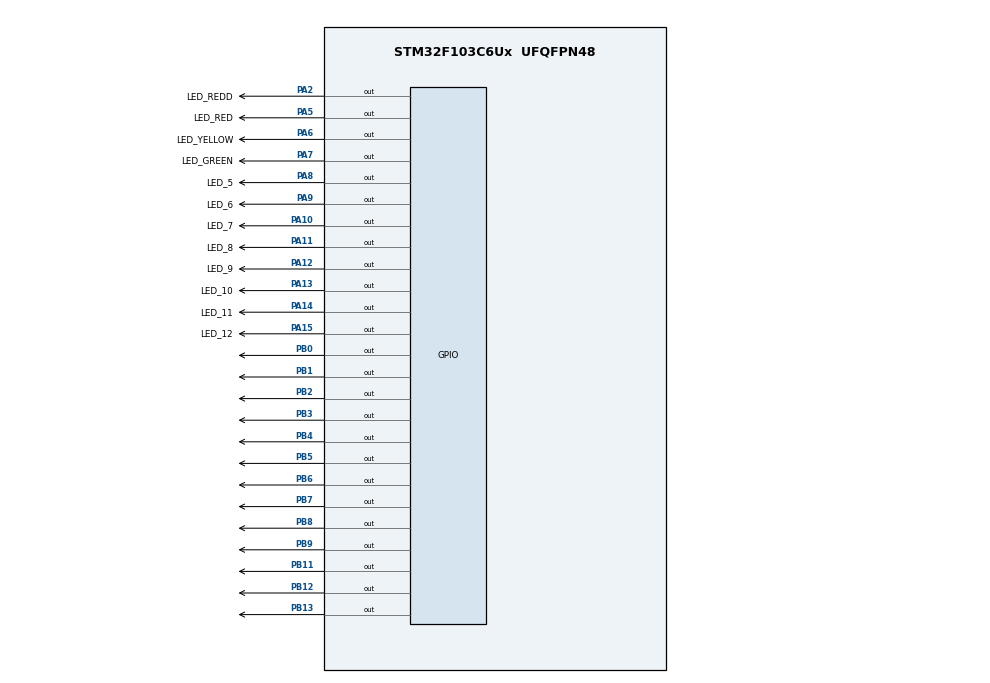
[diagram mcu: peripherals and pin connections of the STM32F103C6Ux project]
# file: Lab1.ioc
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Mcu.Family=STM32F1
Mcu.Name=STM32F103C6Ux
Mcu.Package=UFQFPN48
NVIC.PriorityGroup=NVIC_PRIORITYGROUP_4
PA10.GPIO_Label=LED_7
PA10.Signal=GPIO_Output
PA11.GPIO_Label=LED_8
PA11.Signal=GPIO_Output
PA12.GPIO_Label=LED_9
PA12.Signal=GPIO_Output
PA13.GPIO_Label=LED_10
PA13.Signal=GPIO_Output
PA14.GPIO_Label=LED_11
PA14.Signal=GPIO_Output
PA15.GPIO_Label=LED_12
PA15.Signal=GPIO_Output
PA2.GPIO_Label=LED_REDD
PA2.Signal=GPIO_Output
PA5.GPIO_Label=LED_RED
PA5.Signal=GPIO_Output
PA6.GPIO_Label=LED_YELLOW
PA6.Signal=GPIO_Output
PA7.GPIO_Label=LED_GREEN
PA7.Signal=GPIO_Output
PA8.GPIO_Label=LED_5
PA8.Signal=GPIO_Output
PA9.GPIO_Label=LED_6
PA9.Signal=GPIO_Output
PB0.Signal=GPIO_Output
PB1.Signal=GPIO_Output
PB11.Signal=GPIO_Output
PB12.Signal=GPIO_Output
PB13.Signal=GPIO_Output
PB2.Signal=GPIO_Output
PB3.Signal=GPIO_Output
PB4.Signal=GPIO_Output
PB5.Signal=GPIO_Output
PB6.Signal=GPIO_Output
PB7.Signal=GPIO_Output
PB8.Signal=GPIO_Output
PB9.Signal=GPIO_Output
ProjectManager.HeapSize=0x200
ProjectManager.StackSize=0x400
ProjectManager.TargetToolchain=STM32CubeIDE
RCC.APB1Freq_Value=8000000
RCC.APB2Freq_Value=8000000
VP_SYS_VS_ND.Mode=No_Debug
board=custom

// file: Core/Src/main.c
/* USER CODE BEGIN Header */
/**
  ******************************************************************************
  * @file           : main.c
  * @brief          : Main program body
  ******************************************************************************
  * @attention
  *
  * <h2><center>&copy; Copyright (c) 2022 STMicroelectronics.
  * All rights reserved.</center></h2>
  *
  * This software component is licensed by ST under BSD 3-Clause license,
  * the "License"; You may not use this file except in compliance with the
  * License. You may obtain a copy of the License at:
  *                        opensource.org/licenses/BSD-3-Clause
  *
  ******************************************************************************
  */
/* USER CODE END Header */
#include "main.h"

void SystemClock_Config(void);
static void MX_GPIO_Init(void);

/* USER CODE BEGIN 0 */
void display7SEG(int *count_time){
	switch(*count_time){
	 	  case 0:{
	 		  HAL_GPIO_WritePin(GPIOB,GPIO_PIN_6,1);
	 		  HAL_GPIO_WritePin(GPIOB,GPIO_PIN_0,0);
	 		  HAL_GPIO_WritePin(GPIOB,GPIO_PIN_1,0);
	 		  HAL_GPIO_WritePin(GPIOB,GPIO_PIN_2,0);
	 		  HAL_GPIO_WritePin(GPIOB,GPIO_PIN_3,0);
	 		  HAL_GPIO_WritePin(GPIOB,GPIO_PIN_4,0);
	 		  HAL_GPIO_WritePin(GPIOB,GPIO_PIN_5,0);
	 		  HAL_GPIO_WritePin( LED_YELLOW_GPIO_Port , LED_YELLOW_Pin,1);
	 		  HAL_GPIO_WritePin( LED_GREEN_GPIO_Port , LED_GREEN_Pin,1);
	 		  HAL_GPIO_WritePin( LED_RED_GPIO_Port , LED_RED_Pin,0);

	 		  break ;
	 	  	  };
	 	  case 1:{
	 		  HAL_GPIO_WritePin(GPIOB,GPIO_PIN_6,1);
	 		  HAL_GPIO_WritePin(GPIOB,GPIO_PIN_0,1);
	 		  HAL_GPIO_WritePin(GPIOB,GPIO_PIN_1,0);
	 		  HAL_GPIO_WritePin(GPIOB,GPIO_PIN_2,0);
	 		  HAL_GPIO_WritePin(GPIOB,GPIO_PIN_3,1);
	 		  HAL_GPIO_WritePin(GPIOB,GPIO_PIN_4,1);
	 		  HAL_GPIO_WritePin(GPIOB,GPIO_PIN_5,1);
	 		  break ;
	 	  	  };
	 	  case 2:{
	 		  HAL_GPIO_WritePin(GPIOB,GPIO_PIN_0,0);
	 		   HAL_GPIO_WritePin(GPIOB,GPIO_PIN_2,1);
	 		   HAL_GPIO_WritePin(GPIOB,GPIO_PIN_3,0);
	 		   HAL_GPIO_WritePin(GPIOB,GPIO_PIN_4,0);
	 		   HAL_GPIO_WritePin(GPIOB,GPIO_PIN_6,0);
	 		   HAL_GPIO_WritePin(GPIOB,GPIO_PIN_1,0);
	 		   HAL_GPIO_WritePin(GPIOB,GPIO_PIN_5,1);
	 		   break ;
	 	  };
	 	  case 3: {
	 		  HAL_GPIO_WritePin(GPIOB,GPIO_PIN_0,0);
	 		  HAL_GPIO_WritePin(GPIOB,GPIO_PIN_1,0);
	 		  HAL_GPIO_WritePin(GPIOB,GPIO_PIN_2,0);
	 		  HAL_GPIO_WritePin(GPIOB,GPIO_PIN_3,0);
	 		  HAL_GPIO_WritePin(GPIOB,GPIO_PIN_4,1);
	 		  HAL_GPIO_WritePin(GPIOB,GPIO_PIN_5,1);
	 		  HAL_GPIO_WritePin(GPIOB,GPIO_PIN_6,0);
	 		  break;
	 	  };
	 	  case 4:{
	 		  HAL_GPIO_WritePin(GPIOB,GPIO_PIN_0,1);
	 		  HAL_GPIO_WritePin(GPIOB,GPIO_PIN_1,0);
	 		  HAL_GPIO_WritePin(GPIOB,GPIO_PIN_2,0);
	 		  HAL_GPIO_WritePin(GPIOB,GPIO_PIN_3,1);
	 		  HAL_GPIO_WritePin(GPIOB,GPIO_PIN_4,1);
	 		  HAL_GPIO_WritePin(GPIOB,GPIO_PIN_5,0);
	 		  HAL_GPIO_WritePin(GPIOB,GPIO_PIN_6,0);
	 		  break;
	 	  };
	 	  case 5:{
	 		  HAL_GPIO_WritePin(GPIOB,GPIO_PIN_0,0);
	 		  HAL_GPIO_WritePin(GPIOB,GPIO_PIN_1,1);
	 		  HAL_GPIO_WritePin(GPIOB,GPIO_PIN_2,0);
	 		  HAL_GPIO_WritePin(GPIOB,GPIO_PIN_3,0);
	 		  HAL_GPIO_WritePin(GPIOB,GPIO_PIN_4,1);
	 		  HAL_GPIO_WritePin(GPIOB,GPIO_PIN_5,0);
	 		  HAL_GPIO_WritePin(GPIOB,GPIO_PIN_6,0);
	 		  HAL_GPIO_WritePin( LED_YELLOW_GPIO_Port , LED_YELLOW_Pin,0);
	 		  HAL_GPIO_WritePin( LED_RED_GPIO_Port , LED_RED_Pin,1);
	 		  HAL_GPIO_WritePin( LED_GREEN_GPIO_Port , LED_GREEN_Pin,1);

	 		  break;
	 	  };
	 	  case 6:{
	 		  HAL_GPIO_WritePin(GPIOB,GPIO_PIN_0,0);
	 		  HAL_GPIO_WritePin(GPIOB,GPIO_PIN_1,1);
	 		  HAL_GPIO_WritePin(GPIOB,GPIO_PIN_2,0);
	 		  HAL_GPIO_WritePin(GPIOB,GPIO_PIN_3,0);
	 		  HAL_GPIO_WritePin(GPIOB,GPIO_PIN_4,0);
	 		  HAL_GPIO_WritePin(GPIOB,GPIO_PIN_5,0);
	 		  HAL_GPIO_WritePin(GPIOB,GPIO_PIN_6,0);
	 		  break;
	 	  };
	 	  case 7:{
	 		  HAL_GPIO_WritePin(GPIOB,GPIO_PIN_0,0);
	 		  HAL_GPIO_WritePin(GPIOB,GPIO_PIN_1,0);
	 		  HAL_GPIO_WritePin(GPIOB,GPIO_PIN_2,0);
	 		  HAL_GPIO_WritePin(GPIOB,GPIO_PIN_3,1);
	 		  HAL_GPIO_WritePin(GPIOB,GPIO_PIN_4,1);
	 		  HAL_GPIO_WritePin(GPIOB,GPIO_PIN_5,1);
	 		  HAL_GPIO_WritePin(GPIOB,GPIO_PIN_6,1);
	 		  HAL_GPIO_WritePin( LED_GREEN_GPIO_Port , LED_GREEN_Pin,0);
	 		  HAL_GPIO_WritePin(LED_YELLOW_GPIO_Port , LED_YELLOW_Pin,1);
	 		  HAL_GPIO_WritePin( LED_RED_GPIO_Port , LED_RED_Pin,1);
	 		  break;
	 	  };
	 	  case 8:{
	 		  HAL_GPIO_WritePin(GPIOB,GPIO_PIN_0,0);
	 		  HAL_GPIO_WritePin(GPIOB,GPIO_PIN_1,0);
	 		  HAL_GPIO_WritePin(GPIOB,GPIO_PIN_2,0);
	 		  HAL_GPIO_WritePin(GPIOB,GPIO_PIN_3,0);
	 		  HAL_GPIO_WritePin(GPIOB,GPIO_PIN_4,0);
	 		  HAL_GPIO_WritePin(GPIOB,GPIO_PIN_5,0);
	 		  HAL_GPIO_WritePin(GPIOB,GPIO_PIN_6,0);
	 		 		  break;
	 	  };
	 	  case 9:{
	 		  HAL_GPIO_WritePin(GPIOB,GPIO_PIN_4,1);
	 		  HAL_GPIO_WritePin(GPIOB,GPIO_PIN_0,0);
	 		  HAL_GPIO_WritePin(GPIOB,GPIO_PIN_1,0);
	 		  HAL_GPIO_WritePin(GPIOB,GPIO_PIN_2,0);
	 		  HAL_GPIO_WritePin(GPIOB,GPIO_PIN_3,0);
	 		  HAL_GPIO_WritePin(GPIOB,GPIO_PIN_5,0);
	 		  HAL_GPIO_WritePin(GPIOB,GPIO_PIN_6,0);
	 		  *count_time=-1;
	 		  break;
	 	  };

	 };
}
/* USER CODE END 0 */

int main(void)
{

  /* MCU Configuration--------------------------------------------------------*/

  /* Reset of all peripherals, Initializes the Flash interface and the Systick. */
  HAL_Init();

  /* Configure the system clock */
  SystemClock_Config();

  /* Initialize all configured peripherals */
  MX_GPIO_Init();

  /* Infinite loop */
  /* USER CODE BEGIN WHILE */
  int count_time=0;
   while (1)
   {
 	  display7SEG(&count_time);
 	  count_time++;
 	  HAL_Delay(1000);

   }
}

void SystemClock_Config(void)
{
  RCC_OscInitTypeDef RCC_OscInitStruct = {0};
  RCC_ClkInitTypeDef RCC_ClkInitStruct = {0};

  /** Initializes the RCC Oscillators according to the specified parameters
  * in the RCC_OscInitTypeDef structure.
  */
  RCC_OscInitStruct.OscillatorType = RCC_OSCILLATORTYPE_HSI;
  RCC_OscInitStruct.HSIState = RCC_HSI_ON;
  RCC_OscInitStruct.HSICalibrationValue = RCC_HSICALIBRATION_DEFAULT;
  RCC_OscInitStruct.PLL.PLLState = RCC_PLL_NONE;
  if (HAL_RCC_OscConfig(&RCC_OscInitStruct) != HAL_OK)
  {
    Error_Handler();
  }
  /** Initializes the CPU, AHB and APB buses clocks
  */
  RCC_ClkInitStruct.ClockType = RCC_CLOCKTYPE_HCLK|RCC_CLOCKTYPE_SYSCLK
                              |RCC_CLOCKTYPE_PCLK1|RCC_CLOCKTYPE_PCLK2;
  RCC_ClkInitStruct.SYSCLKSource = RCC_SYSCLKSOURCE_HSI;
  RCC_ClkInitStruct.AHBCLKDivider = RCC_SYSCLK_DIV1;
  RCC_ClkInitStruct.APB1CLKDivider = RCC_HCLK_DIV1;
  RCC_ClkInitStruct.APB2CLKDivider = RCC_HCLK_DIV1;

  if (HAL_RCC_ClockConfig(&RCC_ClkInitStruct, FLASH_LATENCY_0) != HAL_OK)
  {
    Error_Handler();
  }
}

static void MX_GPIO_Init(void)
{
  GPIO_InitTypeDef GPIO_InitStruct = {0};

  /* GPIO Ports Clock Enable */
  __HAL_RCC_GPIOA_CLK_ENABLE();
  __HAL_RCC_GPIOB_CLK_ENABLE();

  /*Configure GPIO pin Output Level */
  HAL_GPIO_WritePin(GPIOA, LED_REDD_Pin|LED_RED_Pin|LED_YELLOW_Pin|LED_GREEN_Pin
                          |LED_5_Pin|LED_6_Pin|LED_7_Pin|LED_8_Pin
                          |LED_9_Pin|LED_10_Pin|LED_11_Pin|LED_12_Pin, GPIO_PIN_RESET);

  /*Configure GPIO pin Output Level */
  HAL_GPIO_WritePin(GPIOB, GPIO_PIN_0|GPIO_PIN_1|GPIO_PIN_2|GPIO_PIN_11
                          |GPIO_PIN_12|GPIO_PIN_13|GPIO_PIN_3|GPIO_PIN_4
                          |GPIO_PIN_5|GPIO_PIN_6|GPIO_PIN_7|GPIO_PIN_8
                          |GPIO_PIN_9, GPIO_PIN_RESET);

  /*Configure GPIO pins : LED_REDD_Pin LED_RED_Pin LED_YELLOW_Pin LED_GREEN_Pin
                           LED_5_Pin LED_6_Pin LED_7_Pin LED_8_Pin
                           LED_9_Pin LED_10_Pin LED_11_Pin LED_12_Pin */
  GPIO_InitStruct.Pin = LED_REDD_Pin|LED_RED_Pin|LED_YELLOW_Pin|LED_GREEN_Pin
                          |LED_5_Pin|LED_6_Pin|LED_7_Pin|LED_8_Pin
                          |LED_9_Pin|LED_10_Pin|LED_11_Pin|LED_12_Pin;
  GPIO_InitStruct.Mode = GPIO_MODE_OUTPUT_PP;
  GPIO_InitStruct.Pull = GPIO_NOPULL;
  GPIO_InitStruct.Speed = GPIO_SPEED_FREQ_LOW;
  HAL_GPIO_Init(GPIOA, &GPIO_InitStruct);

  /*Configure GPIO pins : PB0 PB1 PB2 PB11
                           PB12 PB13 PB3 PB4
                           PB5 PB6 PB7 PB8
                           PB9 */
  GPIO_InitStruct.Pin = GPIO_PIN_0|GPIO_PIN_1|GPIO_PIN_2|GPIO_PIN_11
                          |GPIO_PIN_12|GPIO_PIN_13|GPIO_PIN_3|GPIO_PIN_4
                          |GPIO_PIN_5|GPIO_PIN_6|GPIO_PIN_7|GPIO_PIN_8
                          |GPIO_PIN_9;
  GPIO_InitStruct.Mode = GPIO_MODE_OUTPUT_PP;
  GPIO_InitStruct.Pull = GPIO_NOPULL;
  GPIO_InitStruct.Speed = GPIO_SPEED_FREQ_LOW;
  HAL_GPIO_Init(GPIOB, &GPIO_InitStruct);

}

void Error_Handler(void)
{
  __disable_irq();
  while (1)
  {
  }
}

/************************ (C) COPYRIGHT STMicroelectronics *****END OF FILE****/
